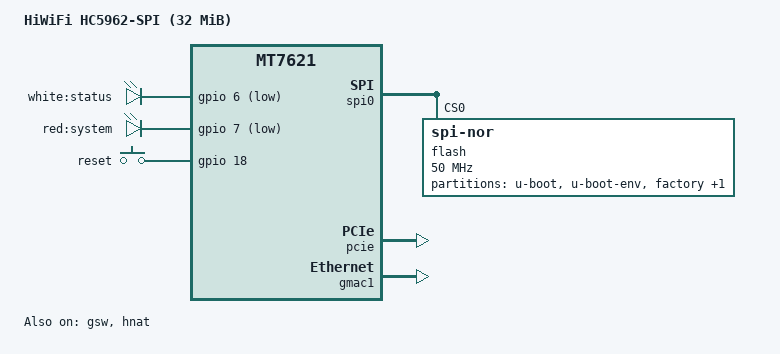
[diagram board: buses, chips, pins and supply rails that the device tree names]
/*
 * HC5962/B70 with a 32 MiB SPI-NOR flash and the Newifi-D1 Breed layout.
 * Linux 5.10 / Lean LEDE, SDK Ethernet + HNAT and swconfig, two GMACs.
 * Factory data is kept read-only. This port does not rewrite Breed or EEPROM.
 */

#include "mt7621.dtsi"

#include <dt-bindings/gpio/gpio.h>
#include <dt-bindings/input/input.h>

/ {
	compatible = "hiwifi,hc5962-spi", "mediatek,mt7621-soc";
	model = "HiWiFi HC5962-SPI (32 MiB)";

	aliases {
		label-mac-device = &gmac0;
		led-boot = &led_system;
		led-failsafe = &led_system;
		led-running = &led_status;
		led-upgrade = &led_status;
	};

	chosen {
		bootargs = "console=ttyS0,115200";
	};

	leds {
		compatible = "gpio-leds";

		led_status: status {
			label = "white:status";
			gpios = <&gpio 6 GPIO_ACTIVE_LOW>;
		};

		led_system: system {
			label = "red:system";
			gpios = <&gpio 7 GPIO_ACTIVE_LOW>;
			panic-indicator;
		};
	};

	keys {
		compatible = "gpio-keys";

		reset {
			label = "reset";
			gpios = <&gpio 18 GPIO_ACTIVE_HIGH>;
			linux,code = <KEY_RESTART>;
		};
	};
};

&nand {
	status = "disabled";
};

&spi0 {
	status = "okay";

	flash@0 {
		compatible = "jedec,spi-nor";
		reg = <0>;
		spi-max-frequency = <50000000>;
		broken-flash-reset;

		partitions {
			compatible = "fixed-partitions";
			#address-cells = <1>;
			#size-cells = <1>;

			partition@0 {
				label = "u-boot";
				reg = <0x0 0x30000>;
				read-only;
			};

			partition@30000 {
				label = "u-boot-env";
				reg = <0x30000 0x10000>;
				read-only;
			};

			factory: partition@40000 {
				label = "factory";
				reg = <0x40000 0x10000>;
				read-only;
			};

			partition@50000 {
				compatible = "denx,uimage";
				label = "firmware";
				reg = <0x50000 0x1fb0000>;
			};
		};
	};
};

&pcie {
	status = "okay";
};

&pcie0 {
	mt76@0,0 {
		reg = <0x0000 0 0 0 0>;
		mediatek,mtd-eeprom = <&factory 0x0000>;
		ieee80211-freq-limit = <2400000 2500000>;
	};
};

&pcie1 {
	mt76@0,0 {
		reg = <0x0000 0 0 0 0>;
		mediatek,mtd-eeprom = <&factory 0x8000>;
		ieee80211-freq-limit = <5000000 6000000>;
	};
};

&gmac0 {
	mtd-mac-address = <&factory 0xe000>;
};

&gmac1 {
	mtd-mac-address = <&factory 0xe006>;
	status = "okay";
};

/* SDK Ethernet uses the MT753x swconfig driver instead of the DSA driver. */
&switch0 {
	status = "disabled";
};

&gsw {
	mediatek,portmap = "llllw";
	status = "okay";
};

&hnat {
	mtketh-wan = "eth1";
	mtketh-ppd = "eth0";
	mtketh-lan = "eth0";
	mtketh-max-gmac = <2>;
	ext-devices = "wlan0", "wlan1", "ra0", "rai0", "rax0",
		      "apcli0", "apclii0", "apclix0";
	/delete-property/ mtkdsa-wan-port;
	status = "okay";
};

&state_default {
	gpio {
		groups = "uart3", "jtag";
		function = "gpio";
	};
};
